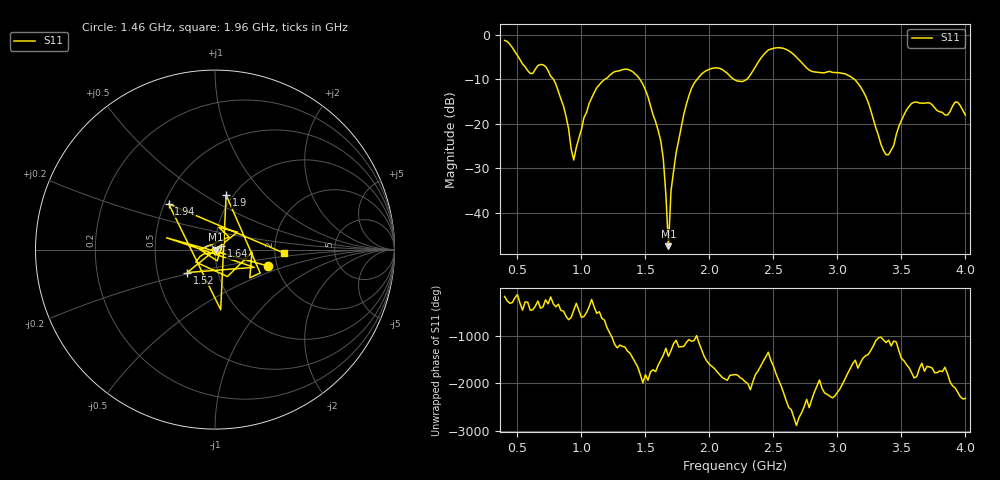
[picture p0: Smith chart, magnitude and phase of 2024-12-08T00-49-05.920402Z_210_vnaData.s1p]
!Created with skrf (http://scikit-rf.org).
# Hz S RI R 50.0
!freq ReS11 ImS11
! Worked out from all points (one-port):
!   181 points, 400 MHz to 4 GHz, reference 50 ohm
!   lowest |S11| = -47.5 dB at 1.68 GHz (marker M1), VSWR 1.01, Z = 50.4 + j0.0148 ohm
!   |S11| at or under -10 dB: 781.2 MHz to 1.185 GHz (403.4 MHz wide, 41 % of centre); 1.456 GHz to 1.905 GHz (448.4 MHz wide, 26.7 % of centre); 3.132 GHz to end of sweep (the widest 3 of 4)
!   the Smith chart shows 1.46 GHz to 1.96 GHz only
!   S11 on the Smith chart (normalised r, x): 1.46 GHz: 1.80, -0.37; 1.52 GHz: 0.71, -0.19; 1.64 GHz: 1.07, +0.04; 1.9 GHz: 0.93, +0.63; 1.94 GHz: 0.53, +0.31; 1.96 GHz: 2.23, -0.09
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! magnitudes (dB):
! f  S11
! 400 MHz  -1.3
! 600 MHz  -8.7
! 720 MHz  -7.1
! 860 MHz  -16.0
! 940 MHz  -28.1
! 1.1 GHz  -13.0
! 1.3 GHz  -8.1
! 1.46 GHz  -10.1
! 1.52 GHz  -13.9
! 1.64 GHz  -27.9
! 1.68 GHz  -47.5
! 1.7 GHz  -35.1
! 1.76 GHz  -23.7
! 1.82 GHz  -15.6
! 1.9 GHz  -10.2
! 1.94 GHz  -8.8
! 1.96 GHz  -8.4
! 2.2 GHz  -10.2
! 2.3 GHz  -9.8
! 2.46 GHz  -3.4
! 2.66 GHz  -4.5
! 3.1 GHz  -9.4
! 3.22 GHz  -13.8
! 3.38 GHz  -26.9
! 3.56 GHz  -16.1
! 3.86 GHz  -18.0
! 3.94 GHz  -15.2
! 4 GHz  -18.1
